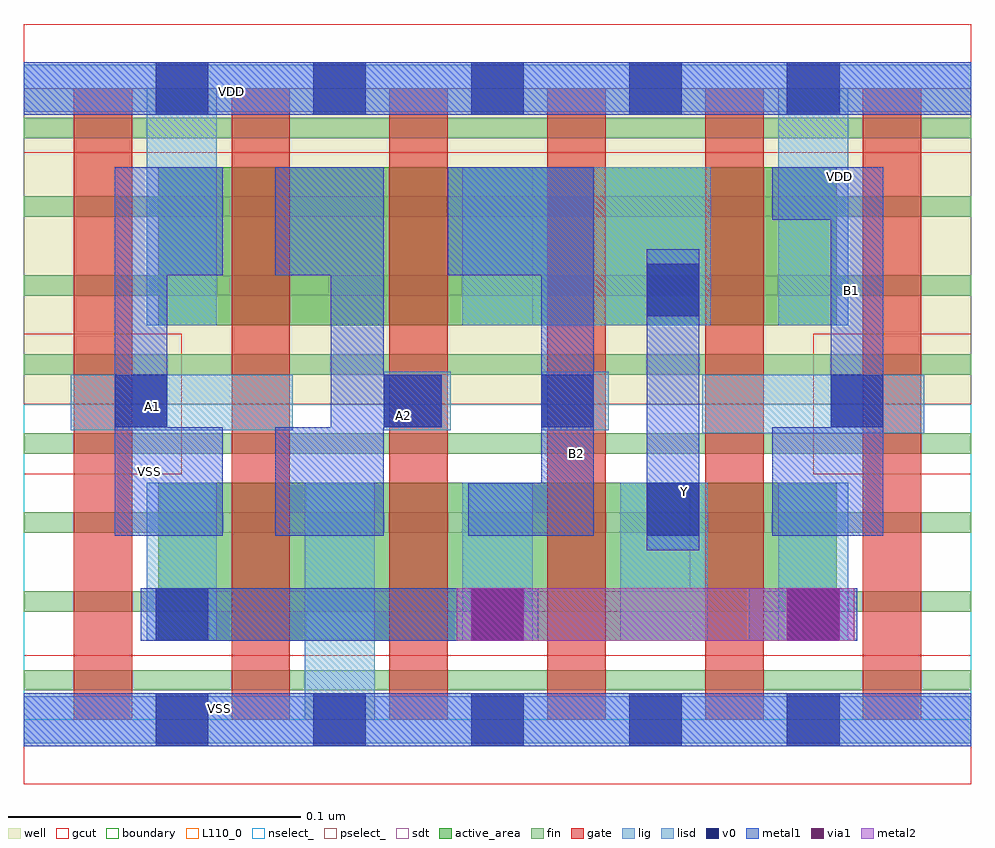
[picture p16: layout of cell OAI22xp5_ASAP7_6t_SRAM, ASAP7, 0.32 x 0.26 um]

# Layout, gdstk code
import gdstk
lib = gdstk.Library(unit=1e-6, precision=2.5e-10)
def R(c, l, rs):  # rectangles x0, y0, x1, y1
    for r in rs: c.add(gdstk.rectangle(r[:2], r[2:], *l))
def A(c, l, x, y, w, h, nx, ny, dx, dy):  # array of equal rectangles
    R(c, l, [(x+i*dx, y+j*dy, x+i*dx+w, y+j*dy+h) for i in range(nx) for j in range(ny)])
def P(c, l, *ps):  # polygons
    for p in ps: c.add(gdstk.Polygon(p, *l))
well = (1, 0)
fin = (2, 0)
gate = (7, 0)
gcut = (10, 0)
active_area = (11, 0)
nselect_ = (12, 0)
pselect_ = (13, 0)
lig = (16, 0)
lisd = (17, 0)
v0 = (18, 0)
metal1 = (19, 0)
metal2 = (20, 0)
via1 = (21, 0)
sdt = (88, 0)
boundary = (100, 0)
L110_0 = (110, 0)

oai22xp5_asap7_6t_sram = lib.new_cell('OAI22xp5_ASAP7_6t_SRAM')
R(oai22xp5_asap7_6t_sram, well, [(0,0.108,0.324,0.216)])
A(oai22xp5_asap7_6t_sram, fin, 0, 0.01, 0.324, 0.007, 1, 8, 0, 0.027)
A(oai22xp5_asap7_6t_sram, gate, 0.017, 0, 0.02, 0.216, 6, 1, 0.054, 0)
R(oai22xp5_asap7_6t_sram, gcut, [(0,-0.022,0.324,0.022), (0,0.084,0.054,0.132), (0.27,0.084,0.324,0.132), (0,0.194,0.324,0.238)])
R(oai22xp5_asap7_6t_sram, active_area, [(0.046,0.027,0.278,0.081), (0.046,0.135,0.278,0.189)])
R(oai22xp5_asap7_6t_sram, nselect_, [(0,0,0.324,0.108)])
R(oai22xp5_asap7_6t_sram, pselect_, [(0,0.108,0.324,0.216)])
R(oai22xp5_asap7_6t_sram, lig, [(0,-0.008,0.324,0.008), (0.232,0.098,0.308,0.118), (0.016,0.099,0.092,0.118), (0.123,0.099,0.146,0.119), (0.177,0.099,0.2,0.119), (0,0.208,0.324,0.224)])
A(oai22xp5_asap7_6t_sram, lisd, 0.042, 0.027, 0.024, 0.054, 3, 1, 0.108, 0)
R(oai22xp5_asap7_6t_sram, lisd, [(0.096,0,0.12,0.081), (0.204,0.027,0.234,0.081), (0.042,0.135,0.066,0.216), (0.15,0.135,0.235,0.189), (0.258,0.135,0.282,0.216)])
A(oai22xp5_asap7_6t_sram, v0, 0.045, -0.009, 0.018, 0.018, 5, 2, 0.054, 0.216)
A(oai22xp5_asap7_6t_sram, v0, 0.045, 0.027, 0.018, 0.018, 3, 1, 0.108, 0)
R(oai22xp5_asap7_6t_sram, v0, [(0.213,0.063,0.231,0.081), (0.031,0.1,0.049,0.118), (0.123,0.1,0.143,0.118), (0.177,0.1,0.195,0.118), (0.276,0.1,0.294,0.118), (0.213,0.138,0.231,0.156)])
R(oai22xp5_asap7_6t_sram, metal1, [(0,-0.009,0.324,0.009), (0.04,0.027,0.176,0.045), (0.248,0.027,0.285,0.045), (0.213,0.058,0.231,0.161), (0,0.207,0.324,0.225)])
P(oai22xp5_asap7_6t_sram, metal1, [(0.143,0.118),(0.123,0.118),(0.123,0.189),(0.086,0.189),(0.086,0.152),(0.105,0.152),(0.105,0.1),(0.086,0.1),(0.086,0.063),(0.123,0.063),(0.123,0.1),(0.143,0.1)],
  [(0.068,0.1),(0.049,0.1),(0.049,0.152),(0.068,0.152),(0.068,0.189),(0.031,0.189),(0.031,0.063),(0.068,0.063)],
  [(0.294,0.189),(0.256,0.189),(0.256,0.171),(0.276,0.171),(0.276,0.1),(0.256,0.1),(0.256,0.063),(0.294,0.063)],
  [(0.195,0.189),(0.145,0.189),(0.145,0.152),(0.177,0.152),(0.177,0.081),(0.152,0.081),(0.152,0.063),(0.195,0.063)])
R(oai22xp5_asap7_6t_sram, metal2, [(0.148,0.027,0.284,0.045)])
R(oai22xp5_asap7_6t_sram, via1, [(0.153,0.027,0.171,0.045), (0.261,0.027,0.279,0.045)])
A(oai22xp5_asap7_6t_sram, sdt, 0.042, 0.027, 0.024, 0.054, 5, 1, 0.054, 0)
A(oai22xp5_asap7_6t_sram, sdt, 0.042, 0.135, 0.024, 0.054, 3, 1, 0.108, 0)
R(oai22xp5_asap7_6t_sram, boundary, [(0,0,0.324,0.216)])
R(oai22xp5_asap7_6t_sram, L110_0, [(0,0,0.324,0.216)])
oai22xp5_asap7_6t_sram.add(gdstk.Label('VDD', (0.279,0.186), layer=1, texttype=251))
oai22xp5_asap7_6t_sram.add(gdstk.Label('VSS', (0.043,0.085), layer=3, texttype=251))
oai22xp5_asap7_6t_sram.add(gdstk.Label('VSS', (0.067,0.004), layer=19, texttype=251))
oai22xp5_asap7_6t_sram.add(gdstk.Label('VDD', (0.071,0.215), layer=19, texttype=251))
oai22xp5_asap7_6t_sram.add(gdstk.Label('A2', (0.13,0.104), layer=19, texttype=251))
oai22xp5_asap7_6t_sram.add(gdstk.Label('A1', (0.044,0.107), layer=19, texttype=251))
oai22xp5_asap7_6t_sram.add(gdstk.Label('B2', (0.189,0.091), layer=19, texttype=251))
oai22xp5_asap7_6t_sram.add(gdstk.Label('B1', (0.283,0.147), layer=19, texttype=251))
oai22xp5_asap7_6t_sram.add(gdstk.Label('Y', (0.226,0.078), layer=19, texttype=251))

lib.write_gds('OAI22xp5_ASAP7_6t_SRAM.gds')
